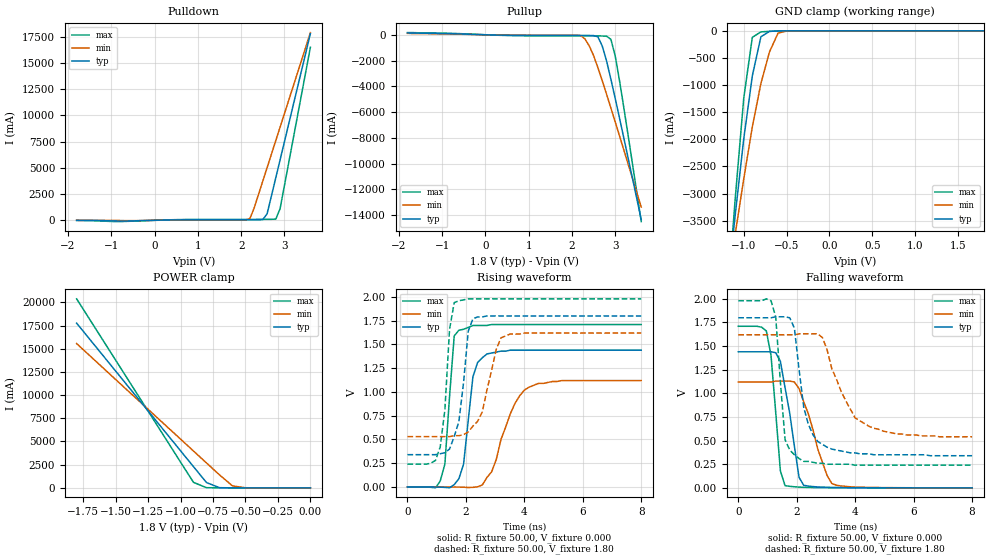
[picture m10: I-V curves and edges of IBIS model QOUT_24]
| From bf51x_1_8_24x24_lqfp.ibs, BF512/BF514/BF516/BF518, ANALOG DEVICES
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|   Model prw1624cdg_25
[Model]   QOUT_24
Model_type   I/O
Polarity   Non-Inverting
Enable   Active-Low
Vinl =   0.70V
Vinh =   1.00V
Vmeas =   1.20V
Cref =  50.00pF
Rref =   1.00M
Vref =  0.000V
C_comp   4.64pF   4.17pF   5.10pF
[Temperature Range]   25.00   0.12k   -40.00
[Voltage Range]   1.80V   1.62V   1.98V
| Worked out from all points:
|   slope of the pulldown table from 0 to 0.27 V, typ, clamps not added: 11.3 ohm
|   slope of the pullup table from 0 to 0.27 V, typ, clamps not added: 11.8 ohm
|   GND clamp passes 1 mA (typ) near -0.53 V on its own axis
|   POWER clamp passes 1 mA (typ) near -0.53 V on its own axis
|   rising waveform, R_fixture 50.00, V_fixture 0.000: 20-80 % time 301ps typ, 753ps min, 242ps max; typ from 0 V to 1.44 V
|   rising waveform, R_fixture 50.00, V_fixture 1.80: 20-80 % time 339ps typ, 512ps min, 246ps max; typ from 0.34 V to 1.8 V
|   falling waveform, R_fixture 50.00, V_fixture 0.000: 20-80 % time 446ps typ, 675ps min, 270ps max; typ from 1.44 V to 0 V
|   falling waveform, R_fixture 50.00, V_fixture 1.80: 20-80 % time 469ps typ, 887ps min, 258ps max; typ from 1.8 V to 0.34 V
[Pulldown]
| voltage   I(typ)   I(min)   I(max)
-1.8V     -10mA      0A         -10mA
-800mV    -73.8mA    -22.2mA    -120mA
600mV     42.5mA     23.13mA    69.61mA
2.1V      51.24mA    33.46mA    88.37mA
2.2V      51.32mA    140mA      88.44mA
2.3V      51.78mA    1.16A      88.5mA
2.5V      68.44mA    3.74A      89.43mA
2.6V      620mA      5.02A      92.15mA
2.8V      4.05A      7.6A       110mA
2.9V      5.77A      8.89A      1.11A
3.6V      17.82A     17.91A     16.51A
[Pullup]
| voltage   I(typ)   I(min)   I(max)
-1.8V     140mA      110mA      170mA
2.2V      -52.05mA   -57.07mA   -84.56mA
2.3V      -52.58mA   -320mA     -84.78mA
2.4V      -54.8mA    -870mA     -85.04mA
2.5V      -62.22mA   -1.62A     -86.03mA
2.6V      -160mA     -2.56A     -89.83mA
2.7V      -880mA     -3.57A     -96.83mA
2.8V      -2.04A     -4.62A     -110mA
2.9V      -3.46A     -5.69A     -360mA
3V        -4.95A     -6.77A     -1.66A
3.1V      -6.49A     -7.86A     -3.59A
3.6V      -14.34A    -13.37A    -14.49A
[GND_clamp]
| voltage   I(typ)   I(min)   I(max)
-1.8V     -14.28A    -11.35A    -18.41A
-1.2V     -4.9A      -4.81A     -5.19A
-1.1V     -3.4A      -3.75A     -3.1A
-1V       -1.99A     -2.73A     -1.24A
-900mV    -830mA     -1.77A     -120mA
-800mV    -110mA     -970mA     -19.15mA
-700mV    -9.85mA    -390mA     -9.73mA
-600mV    -2.55mA    -42.82mA   -3.48mA
-500mV    -450uA     -4.35mA    -550uA
1.8V      150pA      1.58uA     73.18pA
[POWER_clamp]
| voltage   I(typ)   I(min)   I(max)
-1.8V     17.76A     15.56A     20.38A
-900mV    2.28A      3.97A      590mA
-800mV    570mA      2.68A      16.99mA
-700mV    17.03mA    1.4A       7.08mA
-600mV    2.36mA     210mA      2.77mA
-500mV    460uA      11.86mA    530uA
0V        150pA      7.78nA     85.42pA
[Ramp]
| variable   typ   min   max
dV/dt_r   0.86/0.36n   0.67/0.73n   1.02/0.21n
dV/dt_f   0.87/0.47n   0.65/0.90n   1.04/0.26n
R_load = 50.00
[Rising Waveform]
R_fixture = 50.00
V_fixture = 0.000
V_fixture_min = 0.000
V_fixture_max = 0.000
L_fixture = 0.000H
C_fixture = 0.000F
| time   V(typ)   V(min)   V(max)
0s        0V         0V         0V
1.12ns    -1.99mV    -6.58uV    61.94mV
1.28ns    -4.34mV    -110uV     240mV
1.6ns     24.57mV    -870uV     1.59V
1.76ns    87.18mV    -1.41mV    1.65V
1.92ns    240mV      -2.37mV    1.66V
2.24ns    1.16V      -4.1mV     1.7V
2.72ns    1.4V       99.96mV    1.7V
4ns       1.44V      1.02V      1.71V
8ns       1.44V      1.12V      1.71V
[Rising Waveform]
R_fixture = 50.00
V_fixture = 1.80
V_fixture_min = 1.62
V_fixture_max = 1.98
L_fixture = 0.000H
C_fixture = 0.000F
| time   V(typ)   V(min)   V(max)
0s        340mV      530mV      240mV
1.12ns    350mV      530mV      420mV
1.28ns    360mV      530mV      810mV
1.44ns    400mV      530mV      1.66V
1.6ns     530mV      540mV      1.94V
1.76ns    690mV      540mV      1.96V
2.08ns    1.64V      580mV      1.98V
2.24ns    1.77V      640mV      1.98V
3.2ns     1.8V       1.57V      1.98V
8ns       1.8V       1.62V      1.98V
[Falling Waveform]
R_fixture = 50.00
V_fixture = 0.000
V_fixture_min = 0.000
V_fixture_max = 0.000
L_fixture = 0.000H
C_fixture = 0.000F
| time   V(typ)   V(min)   V(max)
0s        1.44V      1.12V      1.71V
960ps     1.44V      1.12V      1.66V
1.12ns    1.44V      1.12V      1.4V
1.44ns    1.34V      1.13V      180mV
1.6ns     1.06V      1.13V      22.73mV
2.08ns    110mV      1.05V      7.63mV
2.24ns    26.75mV    910mV      5.53mV
2.72ns    8.81mV     410mV      2.41mV
3.2ns     4.4mV      46.06mV    1.12mV
8ns       30.56uV    120uV      6.83uV
[Falling Waveform]
R_fixture = 50.00
V_fixture = 1.80
V_fixture_min = 1.62
V_fixture_max = 1.98
L_fixture = 0.000H
C_fixture = 0.000F
| time   V(typ)   V(min)   V(max)
0s        1.8V       1.62V      1.98V
1.12ns    1.8V       1.62V      1.98V
1.28ns    1.81V      1.62V      1.81V
1.6ns     1.81V      1.62V      510mV
1.92ns    1.69V      1.62V      350mV
2.08ns    1.25V      1.63V      310mV
2.4ns     670mV      1.63V      280mV
3.04ns    430mV      1.46V      250mV
4.48ns    360mV      650mV      240mV
8ns       340mV      540mV      240mV
